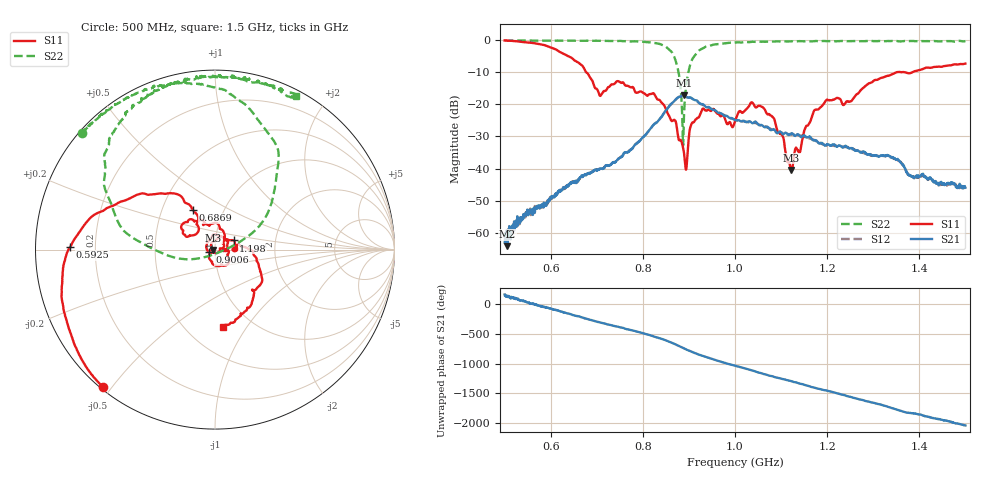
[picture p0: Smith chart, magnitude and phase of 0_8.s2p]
!Agilent Technologies,E8364B,US42250235,A.06.04.32
!Agilent E8364B: A.06.04.32
!Date: Friday, January 15, 2021 14:18:54
!Correction: S11(Full 2 Port(1,2)) S21(Full 2 Port(1,2)) S12(Full 2 Port(1,2)) S22(Full 2 Port(1,2))
!S2P File: Measurements: S11, S21, S12, S22:
# Hz S  dB  R 50
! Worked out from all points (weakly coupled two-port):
!   1601 points, 500 MHz to 1.5 GHz, reference 50 ohm
!   highest |S21| = -17.15 dB at 889.4 MHz (marker M1); lowest = -64.2 dB at 506.2 MHz (marker M2)
!   lowest |S11| = -40.5 dB at 1.123 GHz (marker M3), VSWR 1.02, Z = 49.1 - j0.234 ohm
!   |S11| at or under -10 dB: 677.1 MHz to 1.351 GHz (673.7 MHz wide, 66.4 % of centre); 1.369 GHz to 1.385 GHz (16.27 MHz wide, 1.18 % of centre)
!   |S22| runs from -32.8 to -0.1 dB; largest |S21 - S12| = 0.0031
!   S11 on the Smith chart (normalised r, x): 500 MHz: 0.01, -0.47; 592.5 MHz: 0.11, +0.01; 686.9 MHz: 0.71, +0.34; 900.6 MHz: 0.94, -0.03; 1.198 GHz: 1.22, +0.13; 1.5 GHz: 0.74, -0.78
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5e8  -0.10 -129.2  -63.08 154.5  -60.47 130.2  -0.14 138.6
5.0625e8  -0.15 -132.0  -64.16 124.3  -60.97 127.7  -0.14 137.9
5.925e8  -1.86 179.0  -50.36 -64.7  -50.33 -63.6  -0.14 129.8
6.66875e8  -7.73 130.3  -42.16 135.5  -42.50 134.4  -0.17 121.8
6.86875e8  -11.93 119.2  -41.34 90.0  -41.23 89.9  -0.21 119.7
7.08125e8  -17.36 140.0  -40.03 43.6  -39.94 44.3  -0.23 117.2
7.46875e8  -12.80 140.1  -36.96 -25.5  -37.06 -26.6  -0.26 110.4
8.3375e8  -18.55 75.6  -25.04 150.0  -25.03 149.6  -1.08 85.5
8.6875e8  -24.88 28.5  -18.88 48.7  -18.83 48.6  -5.41 50.3
8.89375e8  -35.18 -96.1  -17.15 -27.7  -17.16 -27.4  -23.16 -143.3
8.95e8  -39.33 -110.9  -17.71 -47.8  -17.70 -47.5  -13.17 -167.6
9.00625e8  -29.28 -155.6  -17.85 -64.1  -17.83 -64.6  -8.84 178.2
9.31875e8  -21.35 86.2  -20.12 -157.3  -20.31 -156.5  -2.44 144.0
1e9  -25.25 0.4  -24.89 43.3  -24.82 44.0  -0.77 120.3
1.059375e9  -20.83 -84.2  -26.57 -88.1  -26.77 -87.1  -0.48 110.9
1.08375e9  -24.27 -118.1  -27.70 -139.1  -28.06 -139.8  -0.45 106.7
1.1225e9  -40.46 -165.4  -29.04 144.8  -29.34 144.2  -0.38 102.7
1.166875e9  -23.89 77.0  -30.86 45.9  -30.84 48.4  -0.38 97.4
1.1975e9  -18.75 26.2  -32.71 -8.2  -32.84 -11.1  -0.30 94.7
1.33375e9  -11.05 -25.8  -35.93 72.8  -36.26 72.4  -0.28 79.9
1.384375e9  -10.04 -47.2  -42.36 -31.3  -42.38 -30.6  -0.28 75.7
1.5e9  -7.30 -83.9  -45.96 125.4  -45.98 121.9  -0.32 62.3
